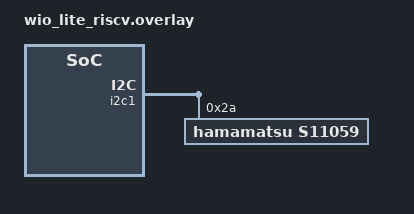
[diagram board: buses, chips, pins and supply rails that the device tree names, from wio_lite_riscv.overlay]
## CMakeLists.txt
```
# SPDX-License-Identifier: Apache-2.0

cmake_minimum_required(VERSION 3.20.0)
find_package(Zephyr REQUIRED HINTS $ENV{ZEPHYR_BASE})
project(s11059)

FILE(GLOB app_sources src/*.c)
target_sources(app PRIVATE ${app_sources})
```

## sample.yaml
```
sample:
  name: S11059 color sensor sample
tests:
  sample.sensor.s11059:
                harness: sensor
                tags: sensors
                depends_on: i2c
                filter: dt_compat_enabled("hamamatsu,s11059")
```

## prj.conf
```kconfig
CONFIG_SENSOR=y
CONFIG_LOG=y
CONFIG_LOG_PRINTK=y
CONFIG_I2C=y
CONFIG_STDOUT_CONSOLE=y
CONFIG_SENSOR_LOG_LEVEL_DBG=y
CONFIG_LVGL=n
```

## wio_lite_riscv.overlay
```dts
/*
 * Copyright (c) 2025 Hiroki Tada
 * SPDX-License-Identifier: Apache-2.0
 */

&i2c1 {
        status = "okay";
        s11059@2a {
                compatible = "hamamatsu,s11059";
                reg = <0x2A>;
                integration-time = <512>;
                status = "okay";
        };
};
```

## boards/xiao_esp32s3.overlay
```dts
/*
 * Copyright (c) 2023 Espressif Systems (Shanghai) Co., Ltd.
 *
 * SPDX-License-Identifier: Apache-2.0
 */

&i2c0 {
        status = "okay";
        s11059@2a {
                compatible = "hamamatsu,s11059";
                reg = <0x2A>;
                integration-time = <546000>;
                label = "S11059_I2C";
                status = "okay";
        };
};
```

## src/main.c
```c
#include <zephyr/kernel.h>
#include <zephyr/device.h>
#include <zephyr/devicetree.h>
#include <zephyr/drivers/sensor.h>

struct sensors_data {
	uint16_t red;
	uint16_t red_frac;
	uint16_t blue;
	uint16_t blue_frac;
	uint16_t green;
	uint16_t green_frac;
	uint16_t ir;
	uint16_t ir_frac;
};

static const struct device *get_s11059_device(void){
	const struct device *dev = DEVICE_DT_GET_ANY(hamamatsu_s11059);
	if (dev == NULL){
		printk("\nError: no device \n");
		return NULL;
	}

	if (!device_is_ready(dev)){
		printk("\n Error Device \"%s\" is not ready;"
                        "check the driver initialization logs for errors.\n",
                        dev->name);
                return NULL;
	}

	printk("Found device \"%s\", getting sensor data\n", dev->name);
        return dev;

}

static void get_s11059_sensor_val(const struct device *dev){
	struct sensor_value red, green, blue, ir;
	struct sensors_data data;
	sensor_sample_fetch(dev);

	sensor_channel_get(dev, SENSOR_CHAN_RED, &red);
	sensor_channel_get(dev, SENSOR_CHAN_GREEN, &green);
	sensor_channel_get(dev, SENSOR_CHAN_BLUE, &blue);
	sensor_channel_get(dev, SENSOR_CHAN_IR, &ir);

	printk("Red: %d.%-4d lx; Green: %d.%-4d lx; Blue: %d.%-4d lx; IR: %d.%-4d lx;\n",
		red.val1, red.val2, green.val1, green.val2, blue.val1, blue.val2,
		ir.val1, ir.val2);

	data.red = red.val1;
	data.red_frac = red.val2;
	data.green = green.val1;
        data.green_frac = green.val2;
	data.blue = blue.val1;
        data.blue_frac = blue.val2;
	data.ir = ir.val1;
        data.ir_frac = ir.val2;
}

void main(void){
	const struct device *dev_s11059 = get_s11059_device();

	if (dev_s11059 == NULL){
		printk("Failed to get device: s11059\n");
		return;
	}

	while(1){
		get_s11059_sensor_val(dev_s11059);
		k_sleep(K_MSEC(1000));
	}
}
```
